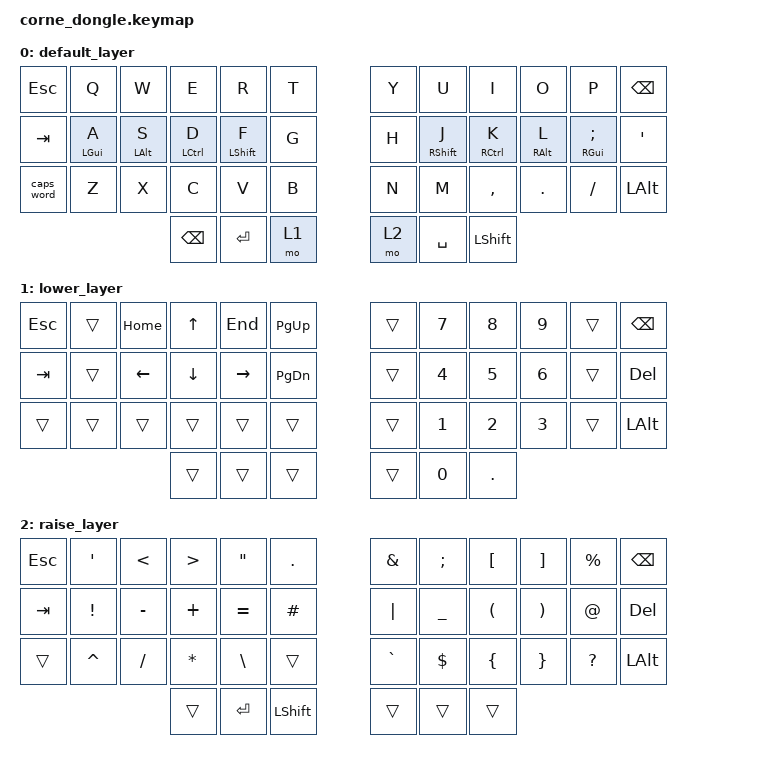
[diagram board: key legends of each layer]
/*
 * Copyright (c) 2020 The ZMK Contributors
 *
 * SPDX-License-Identifier: MIT
 */

#include <behaviors.dtsi>
#include <dt-bindings/zmk/keys.h>
#include <dt-bindings/zmk/bt.h>

#define KEYS_L 0 1 2 3 4 5 12 13 14 15 16 17 24 25 26 27 28 29  // Left-hand keys.
#define KEYS_R 6 7 8 9 10 11 18 19 20 21 22 23 30 31 32 33 34 35  // Right-hand keys.
#define THUMBS 36 37 38 39 40 41                                      // Thumb keys.


/ {
    behaviors {
        lh_pht: left_positional_hold_tap {
            compatible = "zmk,behavior-hold-tap";
            flavor = "balanced";
            tapping-term-ms = <280>;
            #binding-cells = <2>;
            quick-tap-ms = <175>;
            require-prior-idle-ms = <150>;
            bindings = <&kp>, <&kp>;
            // hold-trigger-key-positions = <KEYS_R THUMBS>;
            hold-trigger-on-release;
        };

        rh_pht: right_positional_hold_tap {
            compatible = "zmk,behavior-hold-tap";
            flavor = "balanced";
            tapping-term-ms = <280>;
            #binding-cells = <2>;
            quick-tap-ms = <175>;
            require-prior-idle-ms = <150>;
            bindings = <&kp>, <&kp>;
            // hold-trigger-key-positions = <KEYS_L THUMBS>;
            hold-trigger-on-release;
        };
    };

    keymap {
        compatible = "zmk,keymap";

        default_layer {
// -----------------------------------------------------------------------------------------
// | ESC  |  Q  |  W  |  E  |  R  |  T  |____|  Y  |  U   |  I  |  O  |  P  | BSPC |
// | TAB  |  A  |  S  |  D  |  F  |  G  |____|  H  |  J   |  K  |  L  |  ;  |  '   |
// | GUI  |  Z  |  X  |  C  |  V  |  B  |____|  N  |  M   |  ,  |  .  |  /  | ALT  |
//                    | CTRL| RET | LOW |____| RSE | SPC  | SHFT|
            bindings = <
   &kp ESC    &kp Q          &kp W          &kp E           &kp R           &kp T   &kp Y &kp U           &kp I           &kp O          &kp P             &kp BSPC
   &kp TAB    &lh_pht LGUI A &lh_pht LALT S &lh_pht LCTRL D &lh_pht LSHFT F &kp G   &kp H &rh_pht RSHFT J &rh_pht RCTRL K &rh_pht RALT L &rh_pht RGUI SEMI &kp SQT
   &caps_word &kp Z          &kp X          &kp C           &kp V           &kp B   &kp N &kp M           &kp COMMA       &kp DOT        &kp FSLH          &kp LALT
                                          &kp BSPC        &kp RET         &mo 1   &mo 2 &kp SPACE       &kp LSHFT
            >;
        };
        
        lower_layer {
// -----------------------------------------------------------------------------------------
// | ESC  |     | HOME |  UP | END | PGUP |____|     |  7  |  8  |  9  |     | BSPC |
// | TAB  |     | LFT  | DOW | RIG | PGDN |____|     |  4  |  5  |  6  |     |  DEL |
// | GUI  |     |      |     |     |      |____|     |  1  |  2  |  3  |     |  ALT |
//                     |     |     |      |____|     |  0  |  .  |
            bindings = <
   &kp ESC   &trans &kp HOME &kp UP   &kp END   &kp PG_UP   &trans   &kp N7   &kp N8   &kp N9   &trans  &kp BSPC
   &kp TAB   &trans &kp LEFT &kp DOWN &kp RIGHT &kp PG_DN   &trans   &kp N4   &kp N5   &kp N6   &trans  &kp DEL
   &trans    &trans &trans   &trans   &trans    &trans      &trans   &kp N1   &kp N2   &kp N3   &trans  &kp LALT
                             &trans   &trans    &trans      &trans   &kp N0   &kp DOT
            >;
        };

        raise_layer {
// -----------------------------------------------------------------------------------------
// |  ESC |  '  |  <  |  >  |  "  |  .   |____|  &   |  :  |  [  |  ]  |  %  | BSPC |
// | TAB  |  !  |  -  |  +  |  =  |  #   |____|  |   |  _  |  (  |  )  |  @  |  DEL |
// | GUI  |  ^  |  /  |  *  |  \  |      |____|  `~  |  $  |  {  |  }  |  ?  |  ALT |
//                    |     | ENT | SHFT |____|      |     |     |
            bindings = <
   &kp ESC   &kp SQT   &kp LT    &kp GT   &kp DQT   &kp DOT     &kp AMPS  &kp SEMI &kp LBKT  &kp RBKT &kp PRCNT &kp BSPC
   &kp TAB   &kp EXCL  &kp MINUS &kp PLUS &kp EQUAL &kp HASH    &kp PIPE  &kp UNDER &kp LPAR  &kp RPAR &kp AT    &kp DEL 
   &trans    &kp CARET &kp FSLH  &kp STAR &kp BSLH  &trans      &kp GRAVE &kp DLLR  &kp LBRC  &kp RBRC &kp QMARK &kp LALT
                                 &trans   &kp RET   &kp LSHFT   &trans    &trans    &trans
            >;
        };
    };
};

